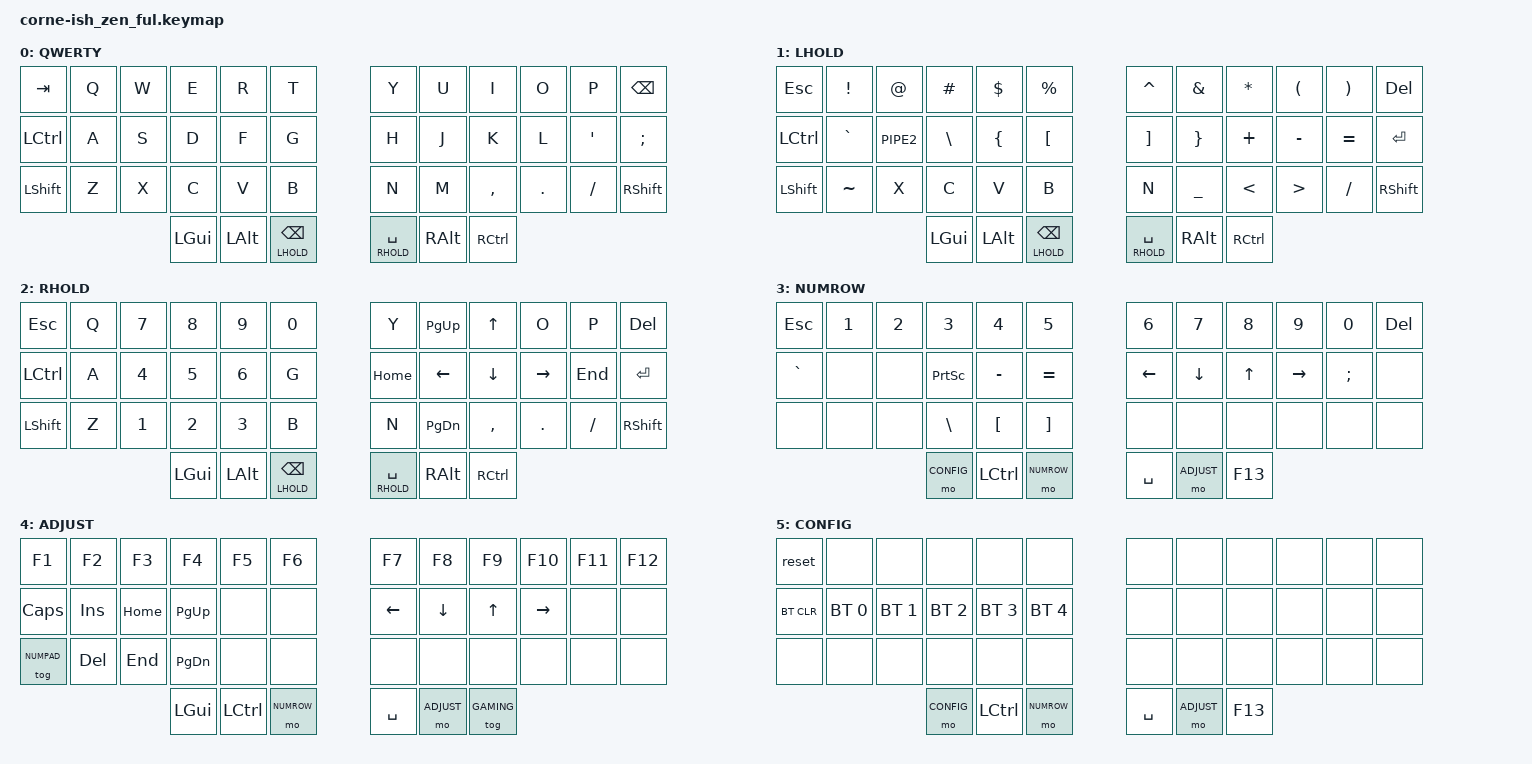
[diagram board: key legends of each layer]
/*
*
* Copyright (c) 2021 lowprokb.ca
* SPDX-License-Identifier: MIT
*
*/

#include <behaviors.dtsi>
#include <dt-bindings/zmk/keys.h>
#include <dt-bindings/zmk/bt.h>

#define QWERTY 0
#define LHOLD 1
#define RHOLD 2
#define NUMROW 3
#define ADJUST 4
#define CONFIG 5

/ {
        keymap {
                compatible = "zmk,keymap";

                default_layer {
                        label = "QWERTY";
                        bindings = <
   &kp TAB   &kp Q &kp W &kp E &kp R &kp T    &kp Y &kp U &kp I    &kp O   &kp P    &kp BKSP
   &kp LCTL  &kp A &kp S &kp D &kp F &kp G    &kp H &kp J &kp K    &kp L   &kp QUOT &kp SEMI
   &kp LSHFT &kp Z &kp X &kp C &kp V &kp B    &kp N &kp M &kp CMMA &kp DOT &kp FSLH &kp RSHFT
          &kp LGUI &kp LALT &lt LHOLD BACKSPACE        &lt RHOLD SPACE &kp RALT &kp RCTRL
                        >;
                };

                lefthold_layer {
                        label = "LHOLD";
                        bindings = <
   &kp ESC   &kp EXCL  &kp AT    &kp HASH &kp DLLR &kp PRCNT   &kp CARET &kp AMPS  &kp STAR &kp LPAR  &kp RPAR  &kp DEL
   &kp LCTL  &kp GRAVE &kp PIPE2 &kp BSLH &kp LBRC &kp LBKT    &kp RBKT  &kp RBRC  &kp PLUS &kp MINUS &kp EQUAL &kp ENTER
   &kp LSHFT &kp TILDE &kp X     &kp C    &kp V    &kp B       &kp N     &kp UNDER &kp LT   &kp GT    &kp FSLH  &kp RSHFT
                           &kp LGUI &kp LALT &lt LHOLD BACKSPACE    &lt RHOLD SPACE &kp RALT &kp RCTRL
                        >;
                };

                righthold_layer {
                        label = "RHOLD";
                        bindings = <
   &kp ESC   &kp Q &kp N7 &kp N8 &kp N9 &kp N0    &kp Y &kp PG_UP &kp UP &kp O   &kp P    &kp DEL
   &kp LCTL  &kp A &kp N4 &kp N5 &kp N6 &kp G    &kp HOME &kp LEFT &kp DOWN &kp RIGHT &kp END &kp ENTER
   &kp LSHFT &kp Z &kp N1 &kp N2 &kp N3 &kp B    &kp N &kp PG_DN &kp CMMA &kp DOT &kp FSLH &kp RSHFT
             &kp LGUI &kp LALT &lt LHOLD BACKSPACE    &lt RHOLD SPACE &kp RALT &kp RCTRL
                        >;
                };

                numrow_layer {
                        label = "NUMROW";
                        bindings = <
   &kp ESC   &kp N1 &kp N2 &kp N3    &kp N4    &kp N5       &kp N6   &kp N7   &kp N8 &kp N9    &kp N0   &kp DEL
   &kp GRAVE &none  &none  &kp PSCRN &kp MINUS &kp EQUAL    &kp LEFT &kp DOWN &kp UP &kp RIGHT &kp SEMI &none
   &none     &none  &none  &kp BSLH  &kp LBKT  &kp RBKT     &none    &none    &none  &none     &none    &none 
                          &mo CONFIG &kp LCTL &mo NUMROW    &kp SPC &mo ADJUST &kp F13
                        >;
                };

                adjust_layer {
                        label = "ADJUST";
                        bindings = <
   &kp F1      &kp F2  &kp F3   &kp F4    &kp F5 &kp F6    &kp F7   &kp F8   &kp F9 &kp F10   &kp F11 &kp F12
   &kp CAPS    &kp INS &kp HOME &kp PG_UP &none  &none     &kp LEFT &kp DOWN &kp UP &kp RIGHT &none   &none
   &tog NUMPAD &kp DEL &kp END  &kp PG_DN &none  &none     &none    &none    &none  &none     &none   &none
                           &kp LGUI &kp LCTL &mo NUMROW    &kp SPC &mo ADJUST &tog GAMING
                        >;
                };

                config_layer {
                        label = "CONFIG";
                        bindings = <
   &reset     &none        &none        &none        &none        &none           &none &none &none &none &none &none 
   &bt BT_CLR &bt BT_SEL 0 &bt BT_SEL 1 &bt BT_SEL 2 &bt BT_SEL 3 &bt BT_SEL 4    &none &none &none &none &none &none
   &none      &none        &none        &none        &none        &none           &none &none &none &none &none &none
                                                &mo CONFIG &kp LCTL &mo NUMROW    &kp SPC &mo ADJUST &kp F13
                        >;
                };
        };
};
